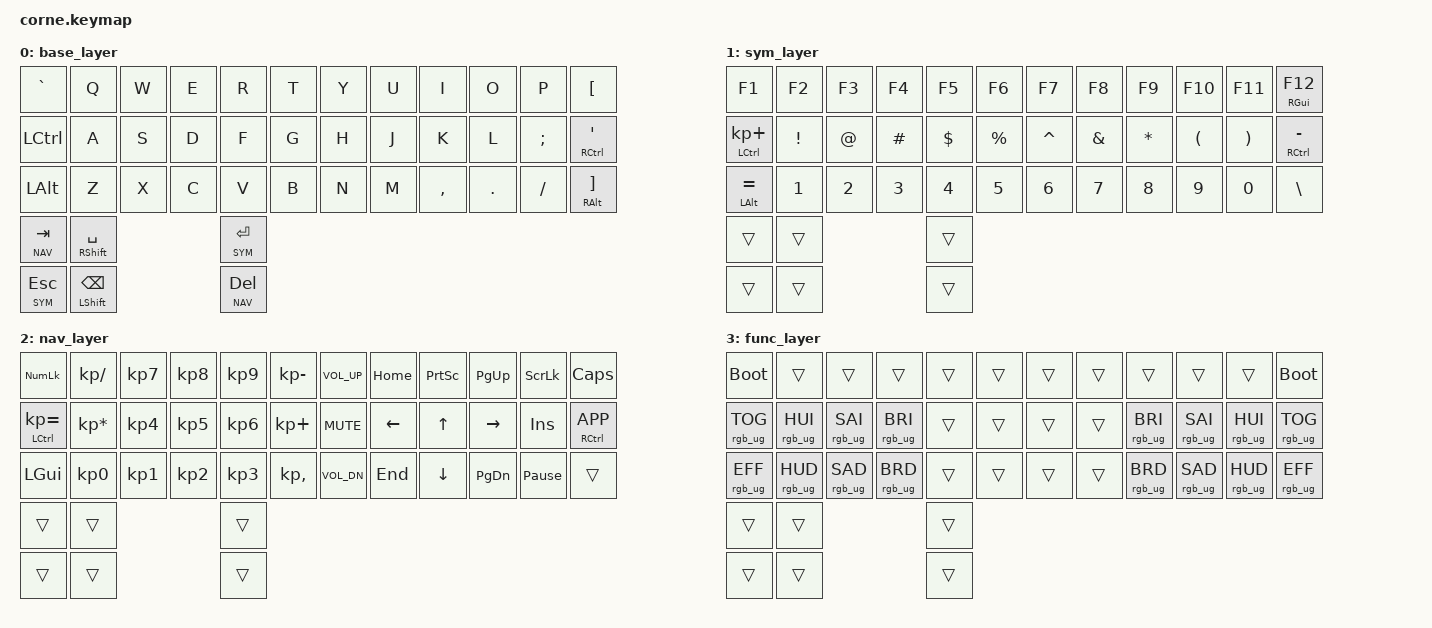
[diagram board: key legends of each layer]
/*
 * Jorne Rev1 ZMK Keymap
 * Converted from QMK Configurator JSON (jorne_rev1_layout_2026-06-04)
 *
 * Layout: 3x6 + 3 thumb keys per side (42 keys total)
 *
 * Layer 0: Base (QWERTY)
 * Layer 1: Symbols / Function keys
 * Layer 2: Navigation / Numpad
 * Layer 3: RGB / System  (NOTE: Layer 3 is defined but has no direct activation
 *          binding in the base layers — add &mo 3 / &to 3 as needed)
 */

#include <behaviors.dtsi>
#include <dt-bindings/zmk/keys.h>
#include <dt-bindings/zmk/bt.h>
#include <dt-bindings/zmk/rgb.h>
#include <dt-bindings/zmk/outputs.h>
#include <dt-bindings/zmk/ext_power.h>

#define BASE  0
#define SYM   1
#define NAV   2
#define FUNC  3

/ {
    behaviors {
        /*
         * rctl_quot: RCTL_T(KC_QUOT)  →  Hold: RCTRL, Tap: SINGLE_QUOTE
         * ralt_rbrc: RALT_T(KC_RBRC)  →  Hold: RALT,  Tap: RIGHT_BRACKET
         * rsft_spc:  RSFT_T(KC_SPC)   →  Hold: RSHIFT, Tap: SPACE
         * lsft_bspc: LSFT_T(KC_BSPC)  →  Hold: LSHIFT, Tap: BACKSPACE
         * lctl_ppls: LCTL_T(KC_PPLS)  →  Hold: LCTRL,  Tap: KP_PLUS
         * rctl_mins: RCTL_T(KC_MINS)  →  Hold: RCTRL,  Tap: MINUS
         * lalt_eql:  LALT_T(KC_EQL)   →  Hold: LALT,   Tap: EQUAL
         * rgui_f12:  RGUI_T(KC_F12)   →  Hold: RGUI,   Tap: F12
         * lctl_peql: LCTL_T(KC_PEQL)  →  Hold: LCTRL,  Tap: KP_EQUAL
         * rctl_app:  RCTL_T(KC_APP)   →  Hold: RCTRL,  Tap: K_APP (context menu)
         */
        rctl_quot: rctl_quot {
            compatible = "zmk,behavior-hold-tap";
            #binding-cells = <2>;
            flavor = "hold-preferred";
            tapping-term-ms = <200>;
            bindings = <&kp>, <&kp>;
        };
        /* All the mod-taps below reuse the same definition pattern.
           For brevity they all map to &mt in the keymap.
           If you need per-key tuning, define separate behaviors here. */
    };

    conditional_layers {
        compatible = "zmk,conditional-layers";
        tri_layer {
            if-layers = <SYM NAV>;
            then-layer = <FUNC>;
        };
    };

    keymap {
        compatible = "zmk,keymap";

        /* ─────────────────────────────────────────────────────────────
         * Layer 0 – BASE (QWERTY)
         *
         * ┌────────┬───┬───┬───┬───┬───┐     ┌───┬───┬───┬───┬───┬────────┐
         * │ GRAVE  │ Q │ W │ E │ R │ T │     │ Y │ U │ I │ O │ P │  [     │
         * ├────────┼───┼───┼───┼───┼───┤     ├───┼───┼───┼───┼───┼────────┤
         * │ LCTRL  │ A │ S │ D │ F │ G │     │ H │ J │ K │ L │ ; │RCTL/' │
         * ├────────┼───┼───┼───┼───┼───┤     ├───┼───┼───┼───┼───┼────────┤
         * │ LALT   │ Z │ X │ C │ V │ B │     │ N │ M │ , │ . │ / │RALT/] │
         * └────────┴───┴───┴───┴───┴───┘     └───┴───┴───┴───┴───┴────────┘
         *                 ┌──────────┬──────────┬──────────┐ ┌──────────┬──────────┬──────────┐
         *                 │LT(NAV,TAB)│RSFT_T(SPC)│LT(SYM,ENT)│LT(SYM,ESC)│LSFT_T(BSPC)│LT(NAV,DEL)│
         *                 └──────────┴──────────┴──────────┘ └──────────┴──────────┴──────────┘
         * ─────────────────────────────────────────────────────────────*/
        base_layer {
            bindings = <
                &kp GRAVE   &kp Q  &kp W  &kp E  &kp R  &kp T      &kp Y  &kp U  &kp I      &kp O    &kp P     &kp LBKT
                &kp LCTRL   &kp A  &kp S  &kp D  &kp F  &kp G      &kp H  &kp J  &kp K      &kp L    &kp SEMI  &mt RCTRL SQT
                &kp LALT    &kp Z  &kp X  &kp C  &kp V  &kp B      &kp N  &kp M  &kp COMMA  &kp DOT  &kp FSLH  &mt RALT RBKT

                &lt NAV TAB   &mt RSHFT SPACE   &lt SYM ENTER
                &lt SYM ESC   &mt LSHFT BSPC    &lt NAV DEL
            >;
        };

        /* ─────────────────────────────────────────────────────────────
         * Layer 1 – SYM (Symbols + Function keys)
         *
         * ┌───────┬────┬────┬────┬────┬────┐     ┌────┬────┬────┬────┬─────┬──────────┐
         * │  F1   │ F2 │ F3 │ F4 │ F5 │ F6 │     │ F7 │ F8 │ F9 │F10 │ F11 │ RGUI/F12 │
         * ├───────┼────┼────┼────┼────┼────┤     ├────┼────┼────┼────┼─────┼──────────┤
         * │LCTL/+ │  ! │  @ │  # │  $ │  % │     │  ^ │  & │  * │  ( │  )  │ RCTL/-   │
         * ├───────┼────┼────┼────┼────┼────┤     ├────┼────┼────┼────┼─────┼──────────┤
         * │LALT/= │  1 │  2 │  3 │  4 │  5 │     │  6 │  7 │  8 │  9 │  0  │    \     │
         * └───────┴────┴────┴────┴────┴────┘     └────┴────┴────┴────┴─────┴──────────┘
         *                 ┌──────┬──────┬──────┐ ┌──────┬──────┬──────┐
         *                 │TRANS │TRANS │TRANS │ │TRANS │TRANS │TRANS │
         *                 └──────┴──────┴──────┘ └──────┴──────┴──────┘
         * ─────────────────────────────────────────────────────────────*/
        sym_layer {
            bindings = <
                &kp F1           &kp F2    &kp F3   &kp F4    &kp F5   &kp F6      &kp F7     &kp F8    &kp F9    &kp F10   &kp F11   &mt RGUI F12
                &mt LCTRL KP_PLUS  &kp EXCL  &kp AT   &kp HASH  &kp DLLR &kp PRCNT   &kp CARET  &kp AMPS  &kp STAR  &kp LPAR  &kp RPAR  &mt RCTRL MINUS
                &mt LALT EQUAL   &kp N1    &kp N2   &kp N3    &kp N4   &kp N5      &kp N6     &kp N7    &kp N8    &kp N9    &kp N0    &kp BSLH

                &trans  &trans  &trans
                &trans  &trans  &trans
            >;
        };

        /* ─────────────────────────────────────────────────────────────
         * Layer 2 – NAV (Navigation + Numpad)
         *
         * ┌──────────┬──────┬────┬────┬────┬──────┐     ┌──────┬──────┬──────┬──────┬──────┬──────┐
         * │  NLCK    │ KP/  │KP7 │KP8 │KP9 │ KP-  │     │ VOLU │ HOME │ PSCR │ PGUP │ SLCK │ CAPS │
         * ├──────────┼──────┼────┼────┼────┼──────┤     ├──────┼──────┼──────┼──────┼──────┼──────┤
         * │LCTL/KP=  │ KP*  │KP4 │KP5 │KP6 │ KP+  │     │ MUTE │ LEFT │  UP  │ RGHT │ INS  │RCTL/APP│
         * ├──────────┼──────┼────┼────┼────┼──────┤     ├──────┼──────┼──────┼──────┼──────┼──────┤
         * │  LGUI    │ KP0  │KP1 │KP2 │KP3 │KP,   │     │ VOLD │ END  │ DOWN │ PGDN │ PAUS │TRANS │
         * └──────────┴──────┴────┴────┴────┴──────┘     └──────┴──────┴──────┴──────┴──────┴──────┘
         *                 ┌──────┬──────┬──────┐ ┌──────┬──────┬──────┐
         *                 │TRANS │TRANS │TRANS │ │TRANS │TRANS │TRANS │
         *                 └──────┴──────┴──────┘ └──────┴──────┴──────┘
         * ─────────────────────────────────────────────────────────────*/
        nav_layer {
            bindings = <
                &kp KP_NUM       &kp KP_SLASH  &kp KP_N7  &kp KP_N8  &kp KP_N9  &kp KP_MINUS     &kp C_VOL_UP  &kp HOME  &kp PSCRN  &kp PG_UP  &kp SLCK   &kp CAPS
                &mt LCTRL KP_EQUAL  &kp KP_MULTIPLY  &kp KP_N4  &kp KP_N5  &kp KP_N6  &kp KP_PLUS   &kp K_MUTE    &kp LEFT  &kp UP     &kp RIGHT  &kp INS    &mt RCTRL K_APP
                &kp LGUI         &kp KP_N0     &kp KP_N1  &kp KP_N2  &kp KP_N3  &kp KP_COMMA     &kp C_VOL_DN  &kp END   &kp DOWN   &kp PG_DN  &kp PAUSE_BREAK  &trans

                &trans  &trans  &trans
                &trans  &trans  &trans
            >;
        };

        /* ─────────────────────────────────────────────────────────────
         * Layer 3 – FUNC (RGB / System)
         *
         * QMK notes:
         *   QK_BOOT        → &bootloader (ZMK)
         *   AS_UP/AS_DOWN/AS_TOGG → Auto-Shift: no direct ZMK equivalent;
         *                            use &trans or implement via ZMK Auto-Shift if available
         *   UG_TOGG        → &rgb_ug RGB_TOG
         *   UG_HUEU/D      → &rgb_ug RGB_HUI / RGB_HUD
         *   UG_SATU/D      → &rgb_ug RGB_SAI / RGB_SAD
         *   UG_VALU/D      → &rgb_ug RGB_BRI / RGB_BRD
         *   UG_NEXT        → &rgb_ug RGB_EFF
         *   SH_TOGG        → Auto-Shift toggle: no direct ZMK equivalent; mapped to &trans
         *
         * ┌─────────┬───────┬────────┬────────┬───────┬───────┐     ┌───────┬───────┬────────┬────────┬───────┬─────────┐
         * │BOOTLOAD │AS_UP  │AS_TOGG │AS_DOWN │TRANS  │TRANS  │     │TRANS  │TRANS  │AS_DOWN │AS_TOGG │AS_UP  │BOOTLOAD │
         * ├─────────┼───────┼────────┼────────┼───────┼───────┤     ├───────┼───────┼────────┼────────┼───────┼─────────┤
         * │RGB_TOG  │RGB_HUI│RGB_SAI │RGB_BRI │TRANS  │TRANS  │     │TRANS  │TRANS  │RGB_BRI │RGB_SAI │RGB_HUI│RGB_TOG  │
         * ├─────────┼───────┼────────┼────────┼───────┼───────┤     ├───────┼───────┼────────┼────────┼───────┼─────────┤
         * │RGB_EFF  │RGB_HUD│RGB_SAD │RGB_BRD │TRANS  │TRANS  │     │TRANS  │TRANS  │RGB_BRD │RGB_SAD │RGB_HUD│RGB_EFF  │
         * └─────────┴───────┴────────┴────────┴───────┴───────┘     └───────┴───────┴────────┴────────┴───────┴─────────┘
         *                 ┌──────┬──────────┬──────┐ ┌──────┬──────────┬──────┐
         *                 │TRANS │ SH_TOGG  │TRANS │ │TRANS │ SH_TOGG  │TRANS │
         *                 └──────┴──────────┴──────┘ └──────┴──────────┴──────┘
         * ─────────────────────────────────────────────────────────────*/
        func_layer {
            bindings = <
                &bootloader  &trans         &trans         &trans         &trans  &trans      &trans  &trans  &trans         &trans         &trans         &bootloader
                &rgb_ug RGB_TOG  &rgb_ug RGB_HUI  &rgb_ug RGB_SAI  &rgb_ug RGB_BRI  &trans  &trans  &trans  &trans  &rgb_ug RGB_BRI  &rgb_ug RGB_SAI  &rgb_ug RGB_HUI  &rgb_ug RGB_TOG
                &rgb_ug RGB_EFF  &rgb_ug RGB_HUD  &rgb_ug RGB_SAD  &rgb_ug RGB_BRD  &trans  &trans  &trans  &trans  &rgb_ug RGB_BRD  &rgb_ug RGB_SAD  &rgb_ug RGB_HUD  &rgb_ug RGB_EFF

                &trans  &trans  &trans
                &trans  &trans  &trans
            >;
        };
    };
};
